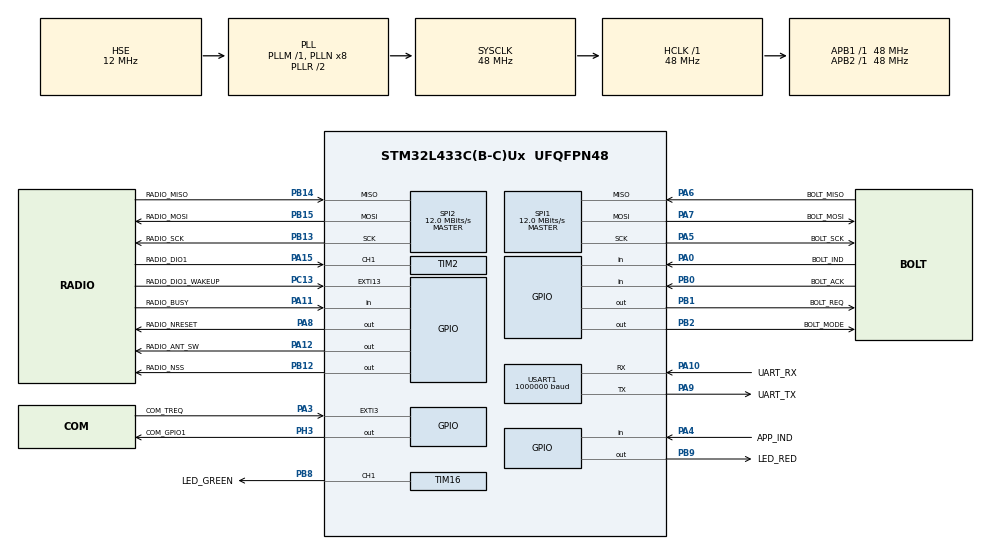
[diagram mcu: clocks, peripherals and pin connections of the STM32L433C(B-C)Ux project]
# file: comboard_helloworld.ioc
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Dma.Request0=USART1_RX
Dma.Request1=USART1_TX
Dma.USART1_RX.0.Direction=DMA_PERIPH_TO_MEMORY
Dma.USART1_RX.0.Instance=DMA1_Channel5
Dma.USART1_RX.0.MemDataAlignment=DMA_MDATAALIGN_BYTE
Dma.USART1_RX.0.MemInc=DMA_MINC_ENABLE
Dma.USART1_RX.0.Mode=DMA_CIRCULAR
Dma.USART1_RX.0.PeriphDataAlignment=DMA_PDATAALIGN_BYTE
Dma.USART1_RX.0.PeriphInc=DMA_PINC_DISABLE
Dma.USART1_RX.0.Priority=DMA_PRIORITY_MEDIUM
Dma.USART1_TX.1.Direction=DMA_MEMORY_TO_PERIPH
Dma.USART1_TX.1.Instance=DMA1_Channel4
Dma.USART1_TX.1.MemDataAlignment=DMA_MDATAALIGN_BYTE
Dma.USART1_TX.1.MemInc=DMA_MINC_ENABLE
Dma.USART1_TX.1.Mode=DMA_NORMAL
Dma.USART1_TX.1.PeriphDataAlignment=DMA_PDATAALIGN_BYTE
Dma.USART1_TX.1.PeriphInc=DMA_PINC_DISABLE
Dma.USART1_TX.1.Priority=DMA_PRIORITY_MEDIUM
FREERTOS.HEAP_NUMBER=1
FREERTOS.INCLUDE_uxTaskGetStackHighWaterMark=1
FREERTOS.INCLUDE_vTaskDelete=0
FREERTOS.INCLUDE_xTaskGetCurrentTaskHandle=1
FREERTOS.MEMORY_ALLOCATION=0
FREERTOS.Tasks01=defaultTask,0,256,StartDefaultTask,Default,NULL,Dynamic,NULL,NULL
FREERTOS.configCHECK_FOR_STACK_OVERFLOW=1
FREERTOS.configGENERATE_RUN_TIME_STATS=0
FREERTOS.configMINIMAL_STACK_SIZE=256
FREERTOS.configTICK_RATE_HZ=1000
FREERTOS.configTOTAL_HEAP_SIZE=16384
FREERTOS.configUSE_IDLE_HOOK=1
FREERTOS.configUSE_MALLOC_FAILED_HOOK=1
FREERTOS.configUSE_PREEMPTION=0
FREERTOS.configUSE_STATS_FORMATTING_FUNCTIONS=0
FREERTOS.configUSE_TICKLESS_IDLE=1
FREERTOS.configUSE_TICK_HOOK=0
FREERTOS.configUSE_TRACE_FACILITY=0
IWDG.Prescaler=IWDG_PRESCALER_128
Mcu.Family=STM32L4
Mcu.Name=STM32L433C(B-C)Ux
Mcu.Package=UFQFPN48
NVIC.DMA1_Channel4_IRQn=true\:5\:0\:true\:false\:true\:true\:false\:true
NVIC.DMA1_Channel5_IRQn=true\:5\:0\:true\:false\:true\:true\:false\:true
NVIC.EXTI15_10_IRQn=true\:5\:0\:false\:false\:true\:true\:true\:true
NVIC.EXTI3_IRQn=true\:5\:0\:false\:false\:true\:true\:true\:true
NVIC.LPTIM1_IRQn=true\:5\:0\:false\:false\:true\:true\:true\:true
NVIC.PriorityGroup=NVIC_PRIORITYGROUP_4
NVIC.RTC_Alarm_IRQn=true\:5\:0\:false\:false\:true\:true\:true\:true
NVIC.SPI1_IRQn=true\:5\:0\:false\:false\:true\:true\:true\:true
NVIC.SPI2_IRQn=true\:5\:0\:false\:false\:true\:true\:true\:true
NVIC.TIM1_UP_TIM16_IRQn=true\:0\:0\:false\:false\:true\:false\:false\:true
NVIC.TIM2_IRQn=true\:5\:0\:true\:false\:true\:true\:true\:true
NVIC.TimeBase=TIM1_UP_TIM16_IRQn
NVIC.TimeBaseIP=TIM1
NVIC.USART1_IRQn=true\:5\:0\:false\:false\:true\:true\:true\:true
PA0.GPIO_Label=BOLT_IND
PA0.Signal=GPIO_Input
PA10.GPIO_Label=UART_RX
PA10.GPIO_PuPd=GPIO_PULLUP
PA10.Mode=Asynchronous
PA10.Signal=USART1_RX
PA11.GPIO_Label=RADIO_BUSY
PA11.Signal=GPIO_Input
PA12.GPIO_Label=RADIO_ANT_SW
PA12.GPIO_Speed=GPIO_SPEED_FREQ_HIGH
PA12.PinState=GPIO_PIN_SET
PA12.Signal=GPIO_Output
PA13\ (JTMS-SWDIO).GPIO_Label=COM_PROG2
PA13\ (JTMS-SWDIO).Signal=SYS_JTMS-SWDIO
PA14\ (JTCK-SWCLK).GPIO_Label=COM_PROG
PA14\ (JTCK-SWCLK).Signal=SYS_JTCK-SWCLK
PA15\ (JTDI).GPIO_Label=RADIO_DIO1
PA15\ (JTDI).Signal=S_TIM2_CH1
PA3.GPIO_Label=COM_TREQ
PA3.GPIO_PuPd=GPIO_PULLDOWN
PA3.Signal=GPXTI3
PA4.GPIO_Label=APP_IND
PA4.GPIO_PuPd=GPIO_NOPULL
PA4.Signal=GPIO_Input
PA5.GPIO_Label=BOLT_SCK
PA5.GPIO_PuPd=GPIO_PULLDOWN
PA5.Mode=Full_Duplex_Master
PA5.Signal=SPI1_SCK
PA6.GPIO_Label=BOLT_MISO
PA6.GPIO_PuPd=GPIO_PULLDOWN
PA6.Mode=Full_Duplex_Master
PA6.Signal=SPI1_MISO
PA7.GPIO_Label=BOLT_MOSI
PA7.GPIO_PuPd=GPIO_PULLDOWN
PA7.Mode=Full_Duplex_Master
PA7.Signal=SPI1_MOSI
PA8.GPIO_Label=RADIO_NRESET
PA8.GPIO_ModeDefaultOutputPP=GPIO_MODE_OUTPUT_PP
PA8.GPIO_PuPd=GPIO_NOPULL
PA8.GPIO_Speed=GPIO_SPEED_FREQ_HIGH
PA8.PinState=GPIO_PIN_SET
PA8.Signal=GPIO_Output
PA9.GPIO_Label=UART_TX
PA9.GPIO_PuPd=GPIO_PULLUP
PA9.Mode=Asynchronous
PA9.Signal=USART1_TX
PB0.GPIO_Label=BOLT_ACK
PB0.GPIO_PuPd=GPIO_NOPULL
PB0.Signal=GPIO_Input
PB1.GPIO_Label=BOLT_REQ
PB1.GPIO_PuPd=GPIO_NOPULL
PB1.GPIO_Speed=GPIO_SPEED_FREQ_VERY_HIGH
PB1.Signal=GPIO_Output
PB12.GPIO_Label=RADIO_NSS
PB12.GPIO_PuPd=GPIO_NOPULL
PB12.GPIO_Speed=GPIO_SPEED_FREQ_VERY_HIGH
PB12.PinState=GPIO_PIN_SET
PB12.Signal=GPIO_Output
PB13.GPIO_Label=RADIO_SCK
PB13.GPIO_PuPd=GPIO_PULLDOWN
PB13.Mode=Full_Duplex_Master
PB13.Signal=SPI2_SCK
PB14.GPIO_Label=RADIO_MISO
PB14.GPIO_PuPd=GPIO_PULLDOWN
PB14.Mode=Full_Duplex_Master
PB14.Signal=SPI2_MISO
PB15.GPIO_Label=RADIO_MOSI
PB15.GPIO_PuPd=GPIO_PULLDOWN
PB15.Mode=Full_Duplex_Master
PB15.Signal=SPI2_MOSI
PB2.GPIO_Label=BOLT_MODE
PB2.GPIO_PuPd=GPIO_NOPULL
PB2.GPIO_Speed=GPIO_SPEED_FREQ_VERY_HIGH
PB2.Signal=GPIO_Output
PB3\ (JTDO-TRACESWO).GPIO_Label=COM_GPIO2
PB3\ (JTDO-TRACESWO).Signal=SYS_JTDO-SWO
PB8.GPIO_Label=LED_GREEN
PB8.Signal=S_TIM16_CH1
PB9.GPIO_Label=LED_RED
PB9.Signal=GPIO_Output
PC13.GPIO_Label=RADIO_DIO1_WAKEUP
PC13.Signal=GPXTI13
PC14-OSC32_IN\ (PC14).Mode=LSE-External-Oscillator
PC14-OSC32_IN\ (PC14).Signal=RCC_OSC32_IN
PC15-OSC32_OUT\ (PC15).Mode=LSE-External-Oscillator
PC15-OSC32_OUT\ (PC15).Signal=RCC_OSC32_OUT
PH0-OSC_IN\ (PH0).Mode=HSE-External-Oscillator
PH0-OSC_IN\ (PH0).Signal=RCC_OSC_IN
PH1-OSC_OUT\ (PH1).Mode=HSE-External-Oscillator
PH1-OSC_OUT\ (PH1).Signal=RCC_OSC_OUT
PH3-BOOT0.GPIO_Label=COM_GPIO1
PH3-BOOT0.Signal=GPIO_Output
ProjectManager.HeapSize=0x200
ProjectManager.StackSize=0x400
ProjectManager.TargetToolchain=STM32CubeIDE
RCC.ADCFreq_Value=48000000
RCC.AHBFreq_Value=48000000
RCC.APB1Freq_Value=48000000
RCC.APB1TimFreq_Value=48000000
RCC.APB2Freq_Value=48000000
RCC.APB2TimFreq_Value=48000000
RCC.CortexFreq_Value=48000000
RCC.HCLKFreq_Value=48000000
RCC.HSE_Timout=300
RCC.HSE_VALUE=12000000
RCC.HSI48_VALUE=48000000
RCC.HSI_VALUE=16000000
RCC.LPTIM1CLockSelection=RCC_LPTIM1CLKSOURCE_LSE
RCC.LSE_Drive_Capability=RCC_LSEDRIVE_LOW
RCC.MSI_VALUE=4000000
RCC.PLLSourceVirtual=RCC_PLLSOURCE_HSE
RCC.PREFETCH_ENABLE=0
RCC.RTCClockSelection=RCC_RTCCLKSOURCE_LSE
RCC.SYSCLKFreq_VALUE=48000000
RCC.SYSCLKSource=RCC_SYSCLKSOURCE_PLLCLK
RCC.USART1CLockSelection=RCC_USART1CLKSOURCE_HSI
RCC.USBFreq_Value=48000000
RCC.VCOOutputFreq_Value=96000000
RCC.VDD_VALUE=3
RTC.Alarm-Alarm\ A=RTC_ALARM_A
SH.S_TIM16_CH1.0=TIM16_CH1,PWM Generation1 CH1
SH.S_TIM2_CH1.0=TIM2_CH1,Input_Capture1_from_TI1
SPI1.BaudRatePrescaler=SPI_BAUDRATEPRESCALER_4
SPI1.CalculateBaudRate=12.0 MBits/s
SPI1.DataSize=SPI_DATASIZE_8BIT
SPI1.Direction=SPI_DIRECTION_2LINES
SPI1.Mode=SPI_MODE_MASTER
SPI1.VirtualType=VM_MASTER
SPI2.BaudRatePrescaler=SPI_BAUDRATEPRESCALER_4
SPI2.CalculateBaudRate=12.0 MBits/s
SPI2.DataSize=SPI_DATASIZE_8BIT
SPI2.Direction=SPI_DIRECTION_2LINES
SPI2.Mode=SPI_MODE_MASTER
SPI2.VirtualType=VM_MASTER
TIM16.AutoReloadPreload=TIM_AUTORELOAD_PRELOAD_ENABLE
TIM16.Channel=TIM_CHANNEL_1
TIM16.OCIdleState_1=TIM_OCIDLESTATE_RESET
TIM16.Period=1024
TIM16.Prescaler=2 - 1
TIM2.Channel-Input_Capture1_from_TI1=TIM_CHANNEL_1
TIM2.Channel-Output\ Compare2\ No\ Output=TIM_CHANNEL_2
TIM2.Channel-Output\ Compare3\ No\ Output=TIM_CHANNEL_3
TIM2.Period=0xFFFFFFFF
TIM2.Prescaler=5
TIM2.Pulse-Output\ Compare2\ No\ Output=0xFFFFFFFF
TIM2.Pulse-Output\ Compare3\ No\ Output=0xFFFFFFFF
USART1.BaudRate=1000000
USART1.OverSampling=UART_OVERSAMPLING_16
USART1.SwapParam=ADVFEATURE_SWAP_DISABLE
USART1.VirtualMode-Asynchronous=VM_ASYNC
USART1.WordLength=WORDLENGTH_8B
VP_FREERTOS_VS_CMSIS_V1.Mode=CMSIS_V1
VP_IWDG_VS_IWDG.Mode=IWDG_Activate
VP_LPTIM1_VS_LPTIM_counterModeInternalClock.Mode=Counts__internal_clock_event_00
VP_RTC_VS_RTC_Activate.Mode=RTC_Enabled
VP_RTC_VS_RTC_Alarm_A_Intern.Mode=Alarm A
VP_RTC_VS_RTC_Calendar.Mode=RTC_Calendar
VP_SYS_VS_tim1.Mode=TIM1
VP_TIM16_VS_ClockSourceINT.Mode=Enable_Timer
VP_TIM2_VS_ClockSourceINT.Mode=Internal
VP_TIM2_VS_no_output2.Mode=Output Compare2 No Output
VP_TIM2_VS_no_output3.Mode=Output Compare3 No Output
board=gloriaLwb_comboard

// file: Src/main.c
/* USER CODE BEGIN Header */
/**
  ******************************************************************************
  * @file           : main.c
  * @brief          : Main program body
  ******************************************************************************
  * @attention
  *
  * <h2><center>&copy; Copyright (c) 2019 STMicroelectronics.
  * All rights reserved.</center></h2>
  *
  * This software component is licensed by ST under Ultimate Liberty license
  * SLA0044, the "License"; You may not use this file except in compliance with
  * the License. You may obtain a copy of the License at:
  *                             www.st.com/SLA0044
  *
  ******************************************************************************
  */
/* USER CODE END Header */

#include "main.h"
#include "cmsis_os.h"

IWDG_HandleTypeDef hiwdg;

LPTIM_HandleTypeDef hlptim1;

RTC_HandleTypeDef hrtc;

SPI_HandleTypeDef hspi1;
SPI_HandleTypeDef hspi2;

TIM_HandleTypeDef htim2;
TIM_HandleTypeDef htim16;

UART_HandleTypeDef huart1;
DMA_HandleTypeDef hdma_usart1_rx;
DMA_HandleTypeDef hdma_usart1_tx;

osThreadId defaultTaskHandle;
/* USER CODE BEGIN PV */

nv_config_t     config;

/* USER CODE END PV */

void SystemClock_Config(void);
static void MX_GPIO_Init(void);
static void MX_DMA_Init(void);
static void MX_SPI2_Init(void);
static void MX_SPI1_Init(void);
static void MX_USART1_UART_Init(void);
static void MX_TIM2_Init(void);
static void MX_TIM16_Init(void);
static void MX_LPTIM1_Init(void);
static void MX_IWDG_Init(void);
static void MX_RTC_Init(void);
void StartDefaultTask(void const * argument);

int main(void)
{
  /* USER CODE BEGIN 1 */

  system_boot();

  /* USER CODE END 1 */

  /* MCU Configuration--------------------------------------------------------*/

  /* Reset of all peripherals, Initializes the Flash interface and the Systick. */
  HAL_Init();

  /* Configure the system clock */
  SystemClock_Config();

  /* Initialize all configured peripherals */
  MX_GPIO_Init();
  MX_DMA_Init();
  MX_SPI2_Init();
  MX_SPI1_Init();
  MX_USART1_UART_Init();
  MX_TIM2_Init();
  MX_TIM16_Init();
  MX_LPTIM1_Init();
  MX_IWDG_Init();
  MX_RTC_Init();
  /* USER CODE BEGIN 2 */

  /* print firmware and compiler info as well as the node ID */
  LOG_RAW(LOG_NEWLINE);
  LOG_INFO("reset flag: %s", system_get_reset_cause(0));

  system_init();

  /* initialize state machine for handling low-power modes */
  lpm_init(0, 0);

  /* USER CODE END 2 */

  /* Create the thread(s) */
  /* definition and creation of defaultTask */
  osThreadDef(defaultTask, StartDefaultTask, osPriorityNormal, 0, 256);
  defaultTaskHandle = osThreadCreate(osThread(defaultTask), NULL);

  /* USER CODE BEGIN RTOS_THREADS */
  /* FreeRTOS tasks, queues, etc. */
  rtos_init();

  /* USER CODE END RTOS_THREADS */

  /* Start scheduler */
  osKernelStart();

  /* We should never get here as control is now taken by the scheduler */
  /* Infinite loop */
  while (1)
  {
  }

}

void SystemClock_Config(void)
{
  RCC_OscInitTypeDef RCC_OscInitStruct = {0};
  RCC_ClkInitTypeDef RCC_ClkInitStruct = {0};
  RCC_PeriphCLKInitTypeDef PeriphClkInit = {0};

  /** Configure LSE Drive Capability
  */
  HAL_PWR_EnableBkUpAccess();
  __HAL_RCC_LSEDRIVE_CONFIG(RCC_LSEDRIVE_LOW);
  /** Initializes the CPU, AHB and APB busses clocks
  */
  RCC_OscInitStruct.OscillatorType = RCC_OSCILLATORTYPE_HSI|RCC_OSCILLATORTYPE_LSI
                              |RCC_OSCILLATORTYPE_HSE|RCC_OSCILLATORTYPE_LSE;
  RCC_OscInitStruct.HSEState = RCC_HSE_ON;
  RCC_OscInitStruct.LSEState = RCC_LSE_ON;
  RCC_OscInitStruct.HSIState = RCC_HSI_ON;
  RCC_OscInitStruct.HSICalibrationValue = RCC_HSICALIBRATION_DEFAULT;
  RCC_OscInitStruct.LSIState = RCC_LSI_ON;
  RCC_OscInitStruct.PLL.PLLState = RCC_PLL_ON;
  RCC_OscInitStruct.PLL.PLLSource = RCC_PLLSOURCE_HSE;
  RCC_OscInitStruct.PLL.PLLM = 1;
  RCC_OscInitStruct.PLL.PLLN = 8;
  RCC_OscInitStruct.PLL.PLLP = RCC_PLLP_DIV7;
  RCC_OscInitStruct.PLL.PLLQ = RCC_PLLQ_DIV2;
  RCC_OscInitStruct.PLL.PLLR = RCC_PLLR_DIV2;
  if (HAL_RCC_OscConfig(&RCC_OscInitStruct) != HAL_OK)
  {
    Error_Handler();
  }
  /** Initializes the CPU, AHB and APB busses clocks
  */
  RCC_ClkInitStruct.ClockType = RCC_CLOCKTYPE_HCLK|RCC_CLOCKTYPE_SYSCLK
                              |RCC_CLOCKTYPE_PCLK1|RCC_CLOCKTYPE_PCLK2;
  RCC_ClkInitStruct.SYSCLKSource = RCC_SYSCLKSOURCE_PLLCLK;
  RCC_ClkInitStruct.AHBCLKDivider = RCC_SYSCLK_DIV1;
  RCC_ClkInitStruct.APB1CLKDivider = RCC_HCLK_DIV1;
  RCC_ClkInitStruct.APB2CLKDivider = RCC_HCLK_DIV1;

  if (HAL_RCC_ClockConfig(&RCC_ClkInitStruct, FLASH_LATENCY_2) != HAL_OK)
  {
    Error_Handler();
  }
  PeriphClkInit.PeriphClockSelection = RCC_PERIPHCLK_RTC|RCC_PERIPHCLK_USART1
                              |RCC_PERIPHCLK_LPTIM1;
  PeriphClkInit.Usart1ClockSelection = RCC_USART1CLKSOURCE_HSI;
  PeriphClkInit.Lptim1ClockSelection = RCC_LPTIM1CLKSOURCE_LSE;
  PeriphClkInit.RTCClockSelection = RCC_RTCCLKSOURCE_LSE;
  if (HAL_RCCEx_PeriphCLKConfig(&PeriphClkInit) != HAL_OK)
  {
    Error_Handler();
  }
  /** Configure the main internal regulator output voltage
  */
  if (HAL_PWREx_ControlVoltageScaling(PWR_REGULATOR_VOLTAGE_SCALE1) != HAL_OK)
  {
    Error_Handler();
  }
}

static void MX_IWDG_Init(void)
{

  hiwdg.Instance = IWDG;
  hiwdg.Init.Prescaler = IWDG_PRESCALER_128;
  hiwdg.Init.Window = 4095;
  hiwdg.Init.Reload = 4095;
  if (HAL_IWDG_Init(&hiwdg) != HAL_OK)
  {
    Error_Handler();
  }

}

static void MX_LPTIM1_Init(void)
{

  hlptim1.Instance = LPTIM1;
  hlptim1.Init.Clock.Source = LPTIM_CLOCKSOURCE_APBCLOCK_LPOSC;
  hlptim1.Init.Clock.Prescaler = LPTIM_PRESCALER_DIV1;
  hlptim1.Init.Trigger.Source = LPTIM_TRIGSOURCE_SOFTWARE;
  hlptim1.Init.OutputPolarity = LPTIM_OUTPUTPOLARITY_HIGH;
  hlptim1.Init.UpdateMode = LPTIM_UPDATE_IMMEDIATE;
  hlptim1.Init.CounterSource = LPTIM_COUNTERSOURCE_INTERNAL;
  hlptim1.Init.Input1Source = LPTIM_INPUT1SOURCE_GPIO;
  hlptim1.Init.Input2Source = LPTIM_INPUT2SOURCE_GPIO;
  if (HAL_LPTIM_Init(&hlptim1) != HAL_OK)
  {
    Error_Handler();
  }
  /* USER CODE BEGIN LPTIM1_Init 2 */
  __HAL_LPTIM_ENABLE_IT(&hlptim1, LPTIM_IT_CMPM);     /* must be enabled before starting the timer */
  HAL_LPTIM_Counter_Start_IT(&hlptim1, 0xffff);
  /* USER CODE END LPTIM1_Init 2 */

}

static void MX_RTC_Init(void)
{

  RTC_TimeTypeDef sTime = {0};
  RTC_DateTypeDef sDate = {0};
  RTC_AlarmTypeDef sAlarm = {0};

  /** Initialize RTC Only
  */
  hrtc.Instance = RTC;
  hrtc.Init.HourFormat = RTC_HOURFORMAT_24;
  hrtc.Init.AsynchPrediv = 127;
  hrtc.Init.SynchPrediv = 255;
  hrtc.Init.OutPut = RTC_OUTPUT_DISABLE;
  hrtc.Init.OutPutRemap = RTC_OUTPUT_REMAP_NONE;
  hrtc.Init.OutPutPolarity = RTC_OUTPUT_POLARITY_HIGH;
  hrtc.Init.OutPutType = RTC_OUTPUT_TYPE_OPENDRAIN;
  if (HAL_RTC_Init(&hrtc) != HAL_OK)
  {
    Error_Handler();
  }

  /** Initialize RTC and set the Time and Date
  */
  sTime.Hours = 0x0;
  sTime.Minutes = 0x0;
  sTime.Seconds = 0x0;
  sTime.DayLightSaving = RTC_DAYLIGHTSAVING_NONE;
  sTime.StoreOperation = RTC_STOREOPERATION_RESET;
  if (HAL_RTC_SetTime(&hrtc, &sTime, RTC_FORMAT_BCD) != HAL_OK)
  {
    Error_Handler();
  }
  sDate.WeekDay = RTC_WEEKDAY_MONDAY;
  sDate.Month = RTC_MONTH_JANUARY;
  sDate.Date = 0x1;
  sDate.Year = 0x0;

  if (HAL_RTC_SetDate(&hrtc, &sDate, RTC_FORMAT_BCD) != HAL_OK)
  {
    Error_Handler();
  }
  /** Enable the Alarm A
  */
  sAlarm.AlarmTime.Hours = 0x0;
  sAlarm.AlarmTime.Minutes = 0x0;
  sAlarm.AlarmTime.Seconds = 0x0;
  sAlarm.AlarmTime.SubSeconds = 0x0;
  sAlarm.AlarmTime.DayLightSaving = RTC_DAYLIGHTSAVING_NONE;
  sAlarm.AlarmTime.StoreOperation = RTC_STOREOPERATION_RESET;
  sAlarm.AlarmMask = RTC_ALARMMASK_NONE;
  sAlarm.AlarmSubSecondMask = RTC_ALARMSUBSECONDMASK_ALL;
  sAlarm.AlarmDateWeekDaySel = RTC_ALARMDATEWEEKDAYSEL_DATE;
  sAlarm.AlarmDateWeekDay = 0x1;
  sAlarm.Alarm = RTC_ALARM_A;
  if (HAL_RTC_SetAlarm_IT(&hrtc, &sAlarm, RTC_FORMAT_BCD) != HAL_OK)
  {
    Error_Handler();
  }

}

static void MX_SPI1_Init(void)
{

  /* SPI1 parameter configuration*/
  hspi1.Instance = SPI1;
  hspi1.Init.Mode = SPI_MODE_MASTER;
  hspi1.Init.Direction = SPI_DIRECTION_2LINES;
  hspi1.Init.DataSize = SPI_DATASIZE_8BIT;
  hspi1.Init.CLKPolarity = SPI_POLARITY_LOW;
  hspi1.Init.CLKPhase = SPI_PHASE_1EDGE;
  hspi1.Init.NSS = SPI_NSS_SOFT;
  hspi1.Init.BaudRatePrescaler = SPI_BAUDRATEPRESCALER_4;
  hspi1.Init.FirstBit = SPI_FIRSTBIT_MSB;
  hspi1.Init.TIMode = SPI_TIMODE_DISABLE;
  hspi1.Init.CRCCalculation = SPI_CRCCALCULATION_DISABLE;
  hspi1.Init.CRCPolynomial = 7;
  hspi1.Init.CRCLength = SPI_CRC_LENGTH_DATASIZE;
  hspi1.Init.NSSPMode = SPI_NSS_PULSE_ENABLE;
  if (HAL_SPI_Init(&hspi1) != HAL_OK)
  {
    Error_Handler();
  }

}

static void MX_SPI2_Init(void)
{

  /* SPI2 parameter configuration*/
  hspi2.Instance = SPI2;
  hspi2.Init.Mode = SPI_MODE_MASTER;
  hspi2.Init.Direction = SPI_DIRECTION_2LINES;
  hspi2.Init.DataSize = SPI_DATASIZE_8BIT;
  hspi2.Init.CLKPolarity = SPI_POLARITY_LOW;
  hspi2.Init.CLKPhase = SPI_PHASE_1EDGE;
  hspi2.Init.NSS = SPI_NSS_SOFT;
  hspi2.Init.BaudRatePrescaler = SPI_BAUDRATEPRESCALER_4;
  hspi2.Init.FirstBit = SPI_FIRSTBIT_MSB;
  hspi2.Init.TIMode = SPI_TIMODE_DISABLE;
  hspi2.Init.CRCCalculation = SPI_CRCCALCULATION_DISABLE;
  hspi2.Init.CRCPolynomial = 7;
  hspi2.Init.CRCLength = SPI_CRC_LENGTH_DATASIZE;
  hspi2.Init.NSSPMode = SPI_NSS_PULSE_ENABLE;
  if (HAL_SPI_Init(&hspi2) != HAL_OK)
  {
    Error_Handler();
  }

}

static void MX_TIM2_Init(void)
{

  TIM_ClockConfigTypeDef sClockSourceConfig = {0};
  TIM_MasterConfigTypeDef sMasterConfig = {0};
  TIM_IC_InitTypeDef sConfigIC = {0};
  TIM_OC_InitTypeDef sConfigOC = {0};

  htim2.Instance = TIM2;
  htim2.Init.Prescaler = 5;
  htim2.Init.CounterMode = TIM_COUNTERMODE_UP;
  htim2.Init.Period = 0xFFFFFFFF;
  htim2.Init.ClockDivision = TIM_CLOCKDIVISION_DIV1;
  htim2.Init.AutoReloadPreload = TIM_AUTORELOAD_PRELOAD_DISABLE;
  if (HAL_TIM_Base_Init(&htim2) != HAL_OK)
  {
    Error_Handler();
  }
  sClockSourceConfig.ClockSource = TIM_CLOCKSOURCE_INTERNAL;
  if (HAL_TIM_ConfigClockSource(&htim2, &sClockSourceConfig) != HAL_OK)
  {
    Error_Handler();
  }
  if (HAL_TIM_IC_Init(&htim2) != HAL_OK)
  {
    Error_Handler();
  }
  if (HAL_TIM_OC_Init(&htim2) != HAL_OK)
  {
    Error_Handler();
  }
  sMasterConfig.MasterOutputTrigger = TIM_TRGO_RESET;
  sMasterConfig.MasterSlaveMode = TIM_MASTERSLAVEMODE_DISABLE;
  if (HAL_TIMEx_MasterConfigSynchronization(&htim2, &sMasterConfig) != HAL_OK)
  {
    Error_Handler();
  }
  sConfigIC.ICPolarity = TIM_INPUTCHANNELPOLARITY_RISING;
  sConfigIC.ICSelection = TIM_ICSELECTION_DIRECTTI;
  sConfigIC.ICPrescaler = TIM_ICPSC_DIV1;
  sConfigIC.ICFilter = 0;
  if (HAL_TIM_IC_ConfigChannel(&htim2, &sConfigIC, TIM_CHANNEL_1) != HAL_OK)
  {
    Error_Handler();
  }
  sConfigOC.OCMode = TIM_OCMODE_TIMING;
  sConfigOC.Pulse = 0xFFFFFFFF;
  sConfigOC.OCPolarity = TIM_OCPOLARITY_HIGH;
  sConfigOC.OCFastMode = TIM_OCFAST_DISABLE;
  if (HAL_TIM_OC_ConfigChannel(&htim2, &sConfigOC, TIM_CHANNEL_2) != HAL_OK)
  {
    Error_Handler();
  }
  if (HAL_TIM_OC_ConfigChannel(&htim2, &sConfigOC, TIM_CHANNEL_3) != HAL_OK)
  {
    Error_Handler();
  }
  /* USER CODE BEGIN TIM2_Init 2 */
  __HAL_TIM_ENABLE_IT(&htim2, TIM_IT_UPDATE);
  /* USER CODE END TIM2_Init 2 */

}

static void MX_TIM16_Init(void)
{

  TIM_OC_InitTypeDef sConfigOC = {0};
  TIM_BreakDeadTimeConfigTypeDef sBreakDeadTimeConfig = {0};

  htim16.Instance = TIM16;
  htim16.Init.Prescaler = 2 - 1;
  htim16.Init.CounterMode = TIM_COUNTERMODE_UP;
  htim16.Init.Period = 1024;
  htim16.Init.ClockDivision = TIM_CLOCKDIVISION_DIV1;
  htim16.Init.RepetitionCounter = 0;
  htim16.Init.AutoReloadPreload = TIM_AUTORELOAD_PRELOAD_ENABLE;
  if (HAL_TIM_Base_Init(&htim16) != HAL_OK)
  {
    Error_Handler();
  }
  if (HAL_TIM_PWM_Init(&htim16) != HAL_OK)
  {
    Error_Handler();
  }
  sConfigOC.OCMode = TIM_OCMODE_PWM1;
  sConfigOC.Pulse = 0;
  sConfigOC.OCPolarity = TIM_OCPOLARITY_HIGH;
  sConfigOC.OCNPolarity = TIM_OCNPOLARITY_HIGH;
  sConfigOC.OCFastMode = TIM_OCFAST_DISABLE;
  sConfigOC.OCIdleState = TIM_OCIDLESTATE_RESET;
  sConfigOC.OCNIdleState = TIM_OCNIDLESTATE_RESET;
  if (HAL_TIM_PWM_ConfigChannel(&htim16, &sConfigOC, TIM_CHANNEL_1) != HAL_OK)
  {
    Error_Handler();
  }
  sBreakDeadTimeConfig.OffStateRunMode = TIM_OSSR_DISABLE;
  sBreakDeadTimeConfig.OffStateIDLEMode = TIM_OSSI_DISABLE;
  sBreakDeadTimeConfig.LockLevel = TIM_LOCKLEVEL_OFF;
  sBreakDeadTimeConfig.DeadTime = 0;
  sBreakDeadTimeConfig.BreakState = TIM_BREAK_DISABLE;
  sBreakDeadTimeConfig.BreakPolarity = TIM_BREAKPOLARITY_HIGH;
  sBreakDeadTimeConfig.AutomaticOutput = TIM_AUTOMATICOUTPUT_DISABLE;
  if (HAL_TIMEx_ConfigBreakDeadTime(&htim16, &sBreakDeadTimeConfig) != HAL_OK)
  {
    Error_Handler();
  }
  HAL_TIM_MspPostInit(&htim16);

}

static void MX_USART1_UART_Init(void)
{

  huart1.Instance = USART1;
  huart1.Init.BaudRate = 1000000;
  huart1.Init.WordLength = UART_WORDLENGTH_8B;
  huart1.Init.StopBits = UART_STOPBITS_1;
  huart1.Init.Parity = UART_PARITY_NONE;
  huart1.Init.Mode = UART_MODE_TX_RX;
  huart1.Init.HwFlowCtl = UART_HWCONTROL_NONE;
  huart1.Init.OverSampling = UART_OVERSAMPLING_16;
  huart1.Init.OneBitSampling = UART_ONE_BIT_SAMPLE_DISABLE;
  huart1.AdvancedInit.AdvFeatureInit = UART_ADVFEATURE_NO_INIT;
  if (HAL_UART_Init(&huart1) != HAL_OK)
  {
    Error_Handler();
  }

}

static void MX_DMA_Init(void)
{

  /* DMA controller clock enable */
  __HAL_RCC_DMA1_CLK_ENABLE();

  /* DMA interrupt init */
  /* DMA1_Channel4_IRQn interrupt configuration */
  HAL_NVIC_SetPriority(DMA1_Channel4_IRQn, 5, 0);
  HAL_NVIC_EnableIRQ(DMA1_Channel4_IRQn);
  /* DMA1_Channel5_IRQn interrupt configuration */
  HAL_NVIC_SetPriority(DMA1_Channel5_IRQn, 5, 0);
  HAL_NVIC_EnableIRQ(DMA1_Channel5_IRQn);

}

static void MX_GPIO_Init(void)
{
  GPIO_InitTypeDef GPIO_InitStruct = {0};

  /* GPIO Ports Clock Enable */
  __HAL_RCC_GPIOC_CLK_ENABLE();
  __HAL_RCC_GPIOH_CLK_ENABLE();
  __HAL_RCC_GPIOA_CLK_ENABLE();
  __HAL_RCC_GPIOB_CLK_ENABLE();

  /*Configure GPIO pin Output Level */
  HAL_GPIO_WritePin(GPIOB, BOLT_REQ_Pin|BOLT_MODE_Pin|LED_RED_Pin, GPIO_PIN_RESET);

  /*Configure GPIO pin Output Level */
  HAL_GPIO_WritePin(RADIO_NSS_GPIO_Port, RADIO_NSS_Pin, GPIO_PIN_SET);

  /*Configure GPIO pin Output Level */
  HAL_GPIO_WritePin(GPIOA, RADIO_NRESET_Pin|RADIO_ANT_SW_Pin, GPIO_PIN_SET);

  /*Configure GPIO pin Output Level */
  HAL_GPIO_WritePin(COM_GPIO1_GPIO_Port, COM_GPIO1_Pin, GPIO_PIN_RESET);

  /*Configure GPIO pin : RADIO_DIO1_WAKEUP_Pin */
  GPIO_InitStruct.Pin = RADIO_DIO1_WAKEUP_Pin;
  GPIO_InitStruct.Mode = GPIO_MODE_IT_RISING;
  GPIO_InitStruct.Pull = GPIO_NOPULL;
  HAL_GPIO_Init(RADIO_DIO1_WAKEUP_GPIO_Port, &GPIO_InitStruct);

  /*Configure GPIO pins : BOLT_IND_Pin APP_IND_Pin RADIO_BUSY_Pin */
  GPIO_InitStruct.Pin = BOLT_IND_Pin|APP_IND_Pin|RADIO_BUSY_Pin;
  GPIO_InitStruct.Mode = GPIO_MODE_INPUT;
  GPIO_InitStruct.Pull = GPIO_NOPULL;
  HAL_GPIO_Init(GPIOA, &GPIO_InitStruct);

  /*Configure GPIO pins : PA1 PA2 */
  GPIO_InitStruct.Pin = GPIO_PIN_1|GPIO_PIN_2;
  GPIO_InitStruct.Mode = GPIO_MODE_ANALOG;
  GPIO_InitStruct.Pull = GPIO_NOPULL;
  HAL_GPIO_Init(GPIOA, &GPIO_InitStruct);

  /*Configure GPIO pin : COM_TREQ_Pin */
  GPIO_InitStruct.Pin = COM_TREQ_Pin;
  GPIO_InitStruct.Mode = GPIO_MODE_IT_RISING;
  GPIO_InitStruct.Pull = GPIO_PULLDOWN;
  HAL_GPIO_Init(COM_TREQ_GPIO_Port, &GPIO_InitStruct);

  /*Configure GPIO pin : BOLT_ACK_Pin */
  GPIO_InitStruct.Pin = BOLT_ACK_Pin;
  GPIO_InitStruct.Mode = GPIO_MODE_INPUT;
  GPIO_InitStruct.Pull = GPIO_NOPULL;
  HAL_GPIO_Init(BOLT_ACK_GPIO_Port, &GPIO_InitStruct);

  /*Configure GPIO pins : BOLT_REQ_Pin BOLT_MODE_Pin RADIO_NSS_Pin */
  GPIO_InitStruct.Pin = BOLT_REQ_Pin|BOLT_MODE_Pin|RADIO_NSS_Pin;
  GPIO_InitStruct.Mode = GPIO_MODE_OUTPUT_PP;
  GPIO_InitStruct.Pull = GPIO_NOPULL;
  GPIO_InitStruct.Speed = GPIO_SPEED_FREQ_VERY_HIGH;
  HAL_GPIO_Init(GPIOB, &GPIO_InitStruct);

  /*Configure GPIO pins : PB10 PB11 PB4 PB5
                           PB6 PB7 */
  GPIO_InitStruct.Pin = GPIO_PIN_10|GPIO_PIN_11|GPIO_PIN_4|GPIO_PIN_5
                          |GPIO_PIN_6|GPIO_PIN_7;
  GPIO_InitStruct.Mode = GPIO_MODE_ANALOG;
  GPIO_InitStruct.Pull = GPIO_NOPULL;
  HAL_GPIO_Init(GPIOB, &GPIO_InitStruct);

  /*Configure GPIO pins : RADIO_NRESET_Pin RADIO_ANT_SW_Pin */
  GPIO_InitStruct.Pin = RADIO_NRESET_Pin|RADIO_ANT_SW_Pin;
  GPIO_InitStruct.Mode = GPIO_MODE_OUTPUT_PP;
  GPIO_InitStruct.Pull = GPIO_NOPULL;
  GPIO_InitStruct.Speed = GPIO_SPEED_FREQ_HIGH;
  HAL_GPIO_Init(GPIOA, &GPIO_InitStruct);

  /*Configure GPIO pin : COM_GPIO1_Pin */
  GPIO_InitStruct.Pin = COM_GPIO1_Pin;
  GPIO_InitStruct.Mode = GPIO_MODE_OUTPUT_PP;
  GPIO_InitStruct.Pull = GPIO_NOPULL;
  GPIO_InitStruct.Speed = GPIO_SPEED_FREQ_LOW;
  HAL_GPIO_Init(COM_GPIO1_GPIO_Port, &GPIO_InitStruct);

  /*Configure GPIO pin : LED_RED_Pin */
  GPIO_InitStruct.Pin = LED_RED_Pin;
  GPIO_InitStruct.Mode = GPIO_MODE_OUTPUT_PP;
  GPIO_InitStruct.Pull = GPIO_NOPULL;
  GPIO_InitStruct.Speed = GPIO_SPEED_FREQ_LOW;
  HAL_GPIO_Init(LED_RED_GPIO_Port, &GPIO_InitStruct);

  /* EXTI interrupt init*/
  HAL_NVIC_SetPriority(EXTI3_IRQn, 5, 0);
  HAL_NVIC_EnableIRQ(EXTI3_IRQn);

  HAL_NVIC_SetPriority(EXTI15_10_IRQn, 5, 0);
  HAL_NVIC_EnableIRQ(EXTI15_10_IRQn);

}

void StartDefaultTask(void const * argument)
{
  /* USER CODE BEGIN 5 */
  vTaskSuspend(NULL);       // we don't need this task
  /* Infinite loop */
  for(;;)
  {
    osDelay(1);
  }
  /* USER CODE END 5 */
}

 /**
  * @brief  Period elapsed callback in non blocking mode
  * @note   This function is called  when TIM1 interrupt took place, inside
  * HAL_TIM_IRQHandler(). It makes a direct call to HAL_IncTick() to increment
  * a global variable "uwTick" used as application time base.
  * @param  htim : TIM handle
  * @retval None
  */
void HAL_TIM_PeriodElapsedCallback(TIM_HandleTypeDef *htim)
{
  if (htim->Instance == TIM1) {
    HAL_IncTick();
  }
  /* USER CODE BEGIN Callback 1 */
  if (htim->Instance == TIM2) {
    hs_timer_handle_overflow(htim);
  }
  /* USER CODE END Callback 1 */
}

void Error_Handler(void)
{
  /* USER CODE BEGIN Error_Handler_Debug */
  led_on(LED_EVENT);
  delay_us(30000000);
  NVIC_SystemReset();
  /* USER CODE END Error_Handler_Debug */
}

/************************ (C) COPYRIGHT STMicroelectronics *****END OF FILE****/

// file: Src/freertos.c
/* USER CODE BEGIN Header */
/**
  ******************************************************************************
  * File Name          : freertos.c
  * Description        : Code for freertos applications
  ******************************************************************************
  * @attention
  *
  * <h2><center>&copy; Copyright (c) 2019 STMicroelectronics.
  * All rights reserved.</center></h2>
  *
  * This software component is licensed by ST under Ultimate Liberty license
  * SLA0044, the "License"; You may not use this file except in compliance with
  * the License. You may obtain a copy of the License at:
  *                             www.st.com/SLA0044
  *
  ******************************************************************************
  */
/* USER CODE END Header */

#include "FreeRTOS.h"
#include "task.h"
#include "main.h"

/* USER CODE BEGIN Includes */
#include "cmsis_os.h"

/* USER CODE END Includes */

/* USER CODE BEGIN PM */
#ifndef CPU_OFF_IND
#define CPU_OFF_IND()
#define CPU_ON_IND()
#endif /* CPU_OFF_IND */
#ifndef IDLE_TASK_RESUMED
#define IDLE_TASK_RESUMED()
#define IDLE_TASK_SUSPENDED()
#endif /* IDLE_TASK_IND */
/* USER CODE END PM */

/* USER CODE BEGIN Variables */

/* RTOS Task Handles */
#if BOLT_ENABLE
TaskHandle_t xTaskHandle_bolt        = NULL;
#endif /* BOLT_ENABLE */
TaskHandle_t xTaskHandle_helloworld  = NULL;
TaskHandle_t xTaskHandle_timesync    = NULL;
TaskHandle_t xTaskHandle_idle        = NULL;

/* Variables */
uint64_t active_time      = 0;
uint64_t wakeup_timestamp = 0;
uint64_t last_reset       = 0;

/* USER CODE END Variables */

/* USER CODE BEGIN FunctionPrototypes */

extern void task_bolt(void* argument);
extern void task_debug(void* argument);
extern void task_helloworld(void * argument);
extern void task_timesync(void* argument);

/* USER CODE END FunctionPrototypes */

/* Pre/Post sleep processing prototypes */
void PreSleepProcessing(uint32_t *ulExpectedIdleTime);
void PostSleepProcessing(uint32_t *ulExpectedIdleTime);

/* Hook prototypes */
void vApplicationIdleHook(void);
void vApplicationStackOverflowHook(xTaskHandle xTask, signed char *pcTaskName);
void vApplicationMallocFailedHook(void);

/* USER CODE BEGIN 2 */
void vApplicationIdleHook( void )
{
   /* vApplicationIdleHook() will only be called if configUSE_IDLE_HOOK is set
   to 1 in FreeRTOSConfig.h. It will be called on each iteration of the idle
   task. It is essential that code added to this hook function never attempts
   to block in any way (for example, call xQueueReceive() with a block time
   specified, or call vTaskDelay()). If the application makes use of the
   vTaskDelete() API function (as this demo application does) then it is also
   important that vApplicationIdleHook() is permitted to return to its calling
   function, because it is the responsibility of the idle task to clean up
   memory allocated by the kernel to any task that has since been deleted. */

  IDLE_TASK_RESUMED();

  if (!xTaskHandle_idle) {
    xTaskHandle_idle = xTaskGetCurrentTaskHandle();
  }

  /* if the application ends up in the RESET state, something went wrong -> reset the MCU */
  if (lpm_get_opmode() == OP_MODE_RESET) {
    NVIC_SystemReset();
  }

  IDLE_TASK_SUSPENDED();
}
/* USER CODE END 2 */

/* USER CODE BEGIN 4 */
void vApplicationStackOverflowHook(xTaskHandle xTask, signed char *pcTaskName)
{
   /* Run time stack overflow checking is performed if
   configCHECK_FOR_STACK_OVERFLOW is defined to 1 or 2. This hook function is
   called if a stack overflow is detected. */

  (void)pcTaskName;
  (void)xTask;
  FATAL_ERROR("--- stack overflow detected! ---\r\n");
}
/* USER CODE END 4 */

/* USER CODE BEGIN 5 */
void vApplicationMallocFailedHook(void)
{
   /* vApplicationMallocFailedHook() will only be called if
   configUSE_MALLOC_FAILED_HOOK is set to 1 in FreeRTOSConfig.h. It is a hook
   function that will get called if a call to pvPortMalloc() fails.
   pvPortMalloc() is called internally by the kernel whenever a task, queue,
   timer or semaphore is created. It is also called by various parts of the
   demo application. If heap_1.c or heap_2.c are used, then the size of the
   heap available to pvPortMalloc() is defined by configTOTAL_HEAP_SIZE in
   FreeRTOSConfig.h, and the xPortGetFreeHeapSize() API function can be used
   to query the size of free heap space that remains (although it does not
   provide information on how the remaining heap might be fragmented). */
  FATAL_ERROR("--- malloc failed ---\r\n");
}
/* USER CODE END 5 */

/* USER CODE BEGIN PREPOSTSLEEP */
void PreSleepProcessing(uint32_t *ulExpectedIdleTime)
{
  /* note: for tickless idle, the HAL tick needs to be suspended! */
  lpm_prepare();

  /* duty cycle measurement */
  active_time += lptimer_now() - wakeup_timestamp;
  CPU_OFF_IND();
}

void PostSleepProcessing(uint32_t *ulExpectedIdleTime)
{
  CPU_ON_IND();
  wakeup_timestamp = lptimer_now();    /* reset duty cycle timer */

  lpm_resume();
}
/* USER CODE END PREPOSTSLEEP */

/* USER CODE BEGIN Application */
/* RTOS functions ------------------------------------------------------------*/
void rtos_init(void)
{
  /* create RTOS tasks */
  /* max. priority is (configMAX_PRIORITIES - 1), higher numbers = higher priority; idle task has priority 0 */
#if BOLT_ENABLE
  if (xTaskCreate(task_bolt,
                  "boltTask",
                  BOLT_TASK_STACK_SIZE,
                  NULL,
                  tskIDLE_PRIORITY + 1,
                  &xTaskHandle_bolt) != pdPASS) { Error_Handler(); }
#endif /* BOLT_ENABLE */
  if (xTaskCreate(task_timesync,
                  "timesyncTask",
                  TIMESYNC_TASK_STACK_SIZE,
                  NULL,
                  tskIDLE_PRIORITY + 1,
                  &xTaskHandle_timesync) != pdPASS) { Error_Handler(); }
  if (xTaskCreate(task_helloworld,
                  "helloworldTask",
                  HELLOWORLD_TASK_STACK_SIZE,
                  NULL,
                  tskIDLE_PRIORITY + 1,
                  &xTaskHandle_helloworld) != pdPASS) { Error_Handler(); }
}

uint32_t rtos_get_cpu_dc(void)
{
  uint32_t elapsed = (lptimer_now() - last_reset);
  if (elapsed > 0) {
    return (uint32_t)((active_time * 10000) / elapsed);
  }
  return 10000;
}

void rtos_reset_cpu_dc(void)
{
  last_reset = lptimer_now();
  active_time = 0;
}

/* USER CODE END Application */

/************************ (C) COPYRIGHT STMicroelectronics *****END OF FILE****/
